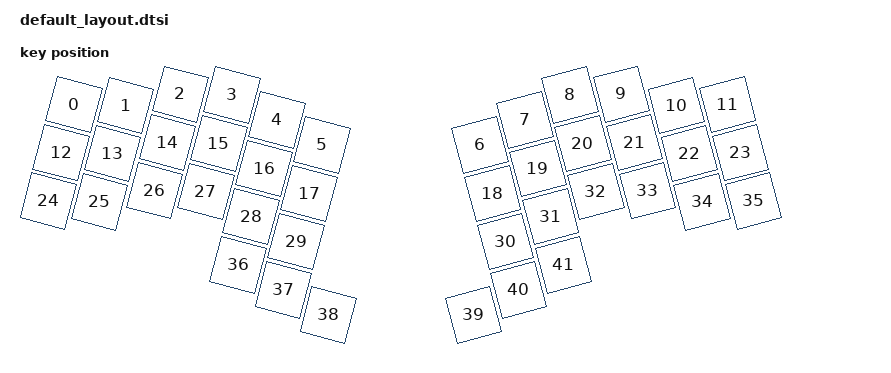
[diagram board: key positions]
#include <physical_layouts.dtsi>

#include "position_map.dtsi"

/ {
    default_layout: default_layout {
        compatible = "zmk,physical-layout";
        display-name = "Default";

        kscan = <&kscan0>;
        transform = <&matrix_transform0>;
        keys  //                     w   h    x    y     rot    rx    ry
            = <&key_physical_attrs 100 100    0  100    1500   700    50>
            , <&key_physical_attrs 100 100  100   75    1500   700    50>
            , <&key_physical_attrs 100 100  200   25    1500   700    50>
            , <&key_physical_attrs 100 100  300    0    1500   700    50>
            , <&key_physical_attrs 100 100  400   25    1500   700    50>
            , <&key_physical_attrs 100 100  500   50    1500   700    50>
            , <&key_physical_attrs 100 100  800   50 (-1500)   700    50>
            , <&key_physical_attrs 100 100  900   25 (-1500)   700    50>
            , <&key_physical_attrs 100 100 1000    0 (-1500)   700    50>
            , <&key_physical_attrs 100 100 1100   25 (-1500)   700    50>
            , <&key_physical_attrs 100 100 1200   75 (-1500)   700    50>
            , <&key_physical_attrs 100 100 1300  100 (-1500)   700    50>
            , <&key_physical_attrs 100 100    0  200    1500   700    50>
            , <&key_physical_attrs 100 100  100  175    1500   700    50>
            , <&key_physical_attrs 100 100  200  125    1500   700    50>
            , <&key_physical_attrs 100 100  300  100    1500   700    50>
            , <&key_physical_attrs 100 100  400  125    1500   700    50>
            , <&key_physical_attrs 100 100  500  150    1500   700    50>
            , <&key_physical_attrs 100 100  800  150 (-1500)   700    50>
            , <&key_physical_attrs 100 100  900  125 (-1500)   700    50>
            , <&key_physical_attrs 100 100 1000  100 (-1500)   700    50>
            , <&key_physical_attrs 100 100 1100  125 (-1500)   700    50>
            , <&key_physical_attrs 100 100 1200  175 (-1500)   700    50>
            , <&key_physical_attrs 100 100 1300  200 (-1500)   700    50>
            , <&key_physical_attrs 100 100    0  300    1500   700    50>
            , <&key_physical_attrs 100 100  100  275    1500   700    50>
            , <&key_physical_attrs 100 100  200  225    1500   700    50>
            , <&key_physical_attrs 100 100  300  200    1500   700    50>
            , <&key_physical_attrs 100 100  400  225    1500   700    50>
            , <&key_physical_attrs 100 100  500  250    1500   700    50>
            , <&key_physical_attrs 100 100  800  250 (-1500)   700    50>
            , <&key_physical_attrs 100 100  900  225 (-1500)   700    50>
            , <&key_physical_attrs 100 100 1000  200 (-1500)   700    50>
            , <&key_physical_attrs 100 100 1100  225 (-1500)   700    50>
            , <&key_physical_attrs 100 100 1200  275 (-1500)   700    50>
            , <&key_physical_attrs 100 100 1300  300 (-1500)   700    50>
            , <&key_physical_attrs 100 100  400  325    1500   700    50>
            , <&key_physical_attrs 100 100  500  350    1500   700    50>
            , <&key_physical_attrs 100 100  600  375    1500   700    50>
            , <&key_physical_attrs 100 100  700  375 (-1500)   700    50>
            , <&key_physical_attrs 100 100  800  350 (-1500)   700    50>
            , <&key_physical_attrs 100 100  900  325 (-1500)   700    50>
            ;
    };
};

&layouts_kabarga_position_map{
        default {
                physical-layout = <&default_layout>;
                positions
                = < 0  1  2  3  4  5  6  7  8  9 10 11>
                , <12 13 14 15 16 17 18 19 20 21 22 23>
                , <24 25 26 27 28 29 30 31 32 33 34 35>
                ,          <36 37 38 39 40 41>;
        };
};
